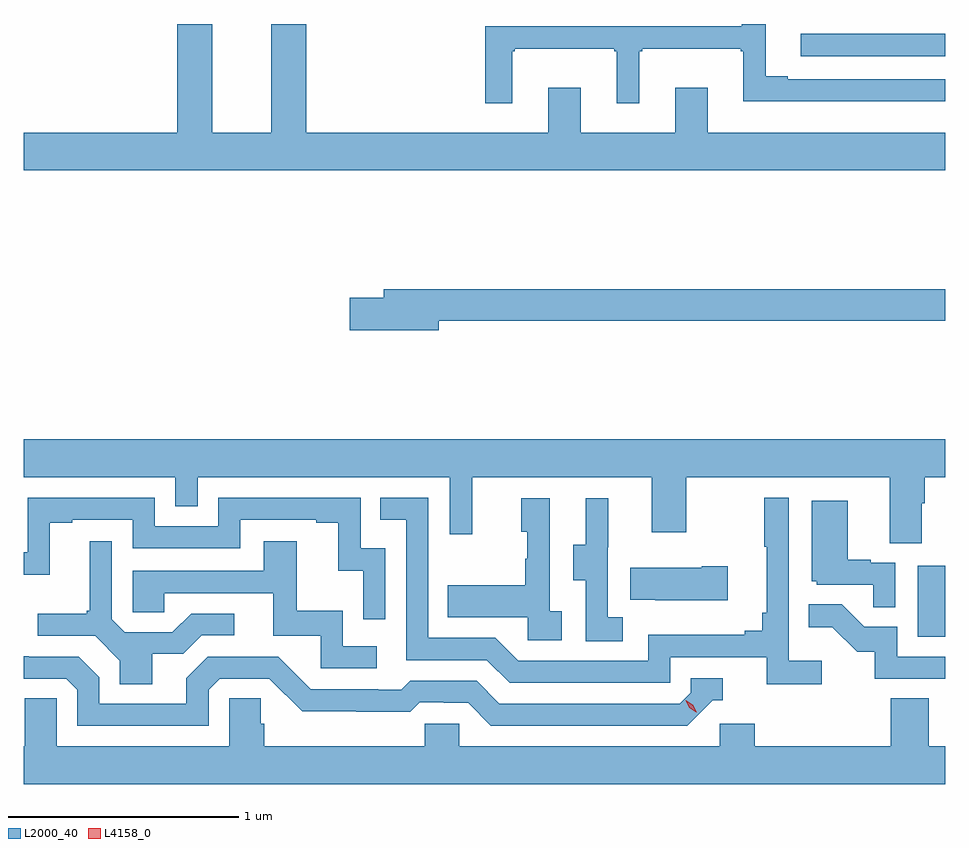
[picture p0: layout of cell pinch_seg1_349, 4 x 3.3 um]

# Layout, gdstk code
import gdstk
lib = gdstk.Library(unit=1e-6, precision=1e-09)
def R(c, l, rs):  # rectangles x0, y0, x1, y1
    for r in rs: c.add(gdstk.rectangle(r[:2], r[2:], *l))
def P(c, l, *ps):  # polygons
    for p in ps: c.add(gdstk.Polygon(p, *l))
L2000_40 = (2000, 40)
L4158_0 = (4158, 0)

pinch_seg1_349 = lib.new_cell('pinch_seg1_349')
R(pinch_seg1_349, L2000_40, [(987.65,547.044,987.768,547.351), (987.141,549.564,987.768,549.662)])
P(pinch_seg1_349, L2000_40, [(987.768,549.232),(986.737,549.232),(986.737,549.427),(986.597,549.427),(986.597,549.232),(986.185,549.232),(986.185,549.427),(986.045,549.427),(986.045,549.232),(984.995,549.232),(984.995,549.704),(984.842,549.704),(984.842,549.232),(984.586,549.232),(984.586,549.704),(984.434,549.704),(984.434,549.232),(983.768,549.232),(983.768,549.068),(987.768,549.068)],
  [(985.888,549.585),(985.9,549.585),(985.9,549.596),(986.331,549.596),(986.331,549.585),(986.342,549.585),(986.342,549.36),(986.44,549.36),(986.44,549.585),(986.452,549.585),(986.452,549.596),(986.88,549.596),(986.88,549.585),(986.891,549.585),(986.891,549.368),(987.768,549.368),(987.768,549.465),(987.085,549.465),(987.085,549.478),(986.989,549.478),(986.989,549.704),(986.885,549.704),(986.885,549.694),(985.771,549.694),(985.771,549.36),(985.888,549.36)],
  [(985.57,548.416),(987.768,548.416),(987.768,548.552),(985.331,548.552),(985.331,548.516),(985.182,548.516),(985.182,548.374),(985.57,548.374)],
  [(987.667,547.624),(987.68,547.624),(987.68,547.736),(987.768,547.736),(987.768,547.9),(983.768,547.9),(983.768,547.736),(984.426,547.736),(984.426,547.609),(984.522,547.609),(984.522,547.736),(985.617,547.736),(985.617,547.488),(985.715,547.488),(985.715,547.736),(986.495,547.736),(986.495,547.497),(986.643,547.497),(986.643,547.736),(987.527,547.736),(987.527,547.45),(987.667,547.45)],
  [(987.232,546.94),(987.09,546.94),(987.09,547.648),(986.982,547.648),(986.982,547.435),(986.993,547.435),(986.993,547.147),(986.974,547.147),(986.974,547.07),(986.897,547.07),(986.897,547.051),(986.478,547.051),(986.478,546.939),(985.914,546.939),(985.815,547.038),(985.524,547.038),(985.524,547.647),(985.315,547.647),(985.315,547.551),(985.428,547.551),(985.428,546.942),(985.778,546.942),(985.877,546.843),(986.574,546.843),(986.574,546.954),(986.993,546.954),(986.993,546.838),(987.232,546.838)],
  [(985.338,547.428),(985.23,547.428),(985.23,547.647),(984.612,547.647),(984.612,547.524),(984.336,547.524),(984.336,547.647),(983.784,547.647),(983.784,547.411),(983.768,547.411),(983.768,547.313),(983.881,547.313),(983.881,547.539),(983.977,547.539),(983.977,547.551),(984.24,547.551),(984.24,547.428),(984.708,547.428),(984.708,547.551),(985.037,547.551),(985.037,547.539),(985.133,547.539),(985.133,547.331),(985.242,547.331),(985.242,547.119),(985.338,547.119)],
  [(986.104,547.154),(986.052,547.154),(986.052,547.645),(985.928,547.645),(985.928,547.5),(985.954,547.5),(985.954,547.382),(985.944,547.382),(985.944,547.267),(985.609,547.267),(985.609,547.127),(985.956,547.127),(985.956,547.029),(986.104,547.029)],
  [(986.368,547.127),(986.304,547.127),(986.304,547.431),(986.306,547.431),(986.306,547.645),(986.207,547.645),(986.207,547.443),(986.153,547.443),(986.153,547.288),(986.208,547.288),(986.208,547.024),(986.368,547.024)],
  [(987.552,547.365),(987.446,547.365),(987.446,547.378),(987.346,547.378),(987.346,547.633),(987.188,547.633),(987.188,547.284),(987.21,547.284),(987.21,547.269),(987.457,547.269),(987.457,547.171),(987.552,547.171)],
  [(984.325,546.97),(984.46,546.97),(984.54,547.05),(984.682,547.05),(984.682,547.143),(984.494,547.143),(984.413,547.062),(984.207,547.062),(984.15,547.119),(984.15,547.459),(984.053,547.459),(984.053,547.156),(984.042,547.156),(984.042,547.144),(983.829,547.144),(983.829,547.047),(984.078,547.047),(984.185,546.94),(984.185,546.838),(984.325,546.838)],
  [(985.3,547.002),(985.152,547.002),(985.152,547.156),(984.953,547.156),(984.953,547.459),(984.809,547.459),(984.809,547.329),(984.24,547.329),(984.24,547.149),(984.377,547.149),(984.377,547.233),(984.851,547.233),(984.851,547.047),(985.056,547.047),(985.056,546.906),(985.3,546.906)],
  [(986.824,547.35),(986.711,547.35),(986.711,547.342),(986.401,547.342),(986.401,547.205),(986.509,547.205),(986.509,547.202),(986.824,547.202)],
  [(987.768,546.957),(987.561,546.957),(987.561,547.086),(987.417,547.086),(987.319,547.184),(987.175,547.184),(987.175,547.085),(987.279,547.085),(987.386,546.978),(987.463,546.978),(987.463,546.861),(987.768,546.861)],
  [(984.57,546.813),(984.618,546.861),(984.834,546.861),(984.976,546.719),(985.212,546.719),(985.212,546.717),(985.445,546.717),(985.487,546.759),(985.59,546.759),(985.59,546.756),(985.697,546.756),(985.796,546.657),(986.649,546.657),(986.76,546.768),(986.803,546.768),(986.803,546.864),(986.664,546.864),(986.664,546.801),(986.616,546.753),(985.833,546.753),(985.734,546.852),(985.445,546.852),(985.406,546.813),(985.307,546.813),(985.307,546.816),(985.014,546.816),(984.873,546.957),(984.567,546.957),(984.473,546.863),(984.473,546.753),(984.096,546.753),(984.096,546.867),(984.006,546.957),(983.79,546.957),(983.79,546.959),(983.768,546.959),(983.768,546.861),(983.952,546.861),(984,546.813),(984,546.657),(984.57,546.657)],
  [(987.768,546.568),(987.698,546.568),(987.698,546.776),(987.533,546.776),(987.533,546.568),(986.942,546.568),(986.942,546.666),(986.79,546.666),(986.79,546.568),(985.659,546.568),(985.659,546.666),(985.509,546.666),(985.509,546.568),(984.812,546.568),(984.812,546.666),(984.797,546.666),(984.797,546.776),(984.66,546.776),(984.66,546.568),(983.91,546.568),(983.91,546.776),(983.771,546.776),(983.771,546.568),(983.768,546.568),(983.768,546.404),(987.768,546.404)])
P(pinch_seg1_349, L4158_0, [(986.688,546.716),(986.657,546.735),(986.641,546.768),(986.641,546.768),(986.642,546.768),(986.672,546.749),(986.689,546.716),(986.689,546.716)])

lib.write_gds('pinch_seg1_349.gds')
